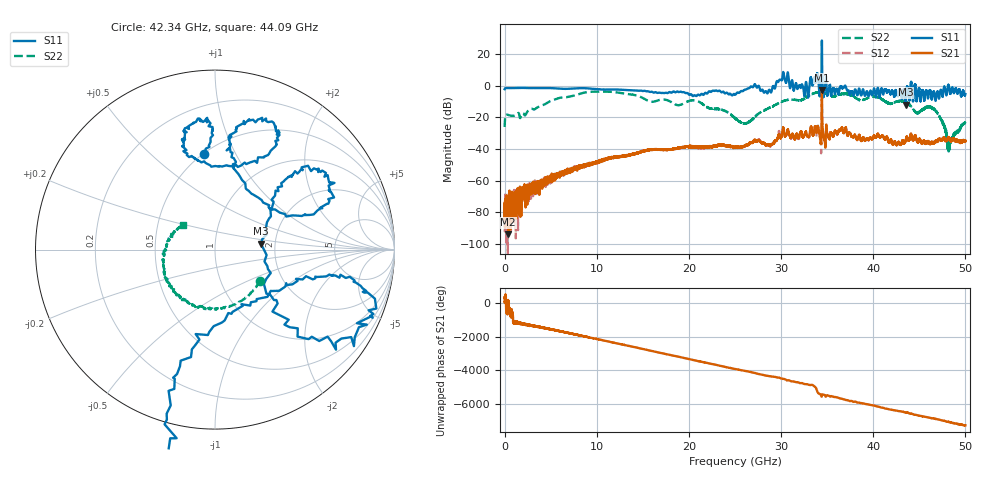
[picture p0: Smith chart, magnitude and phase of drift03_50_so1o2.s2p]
!Created with skrf (http://scikit-rf.org).
# Hz S RI R 50.0
!freq ReS11 ImS11 ReS21 ImS21 ReS12 ImS12 ReS22 ImS22
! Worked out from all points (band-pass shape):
!   10000 points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, 5.3 MHz to 50 GHz, reference 50 ohm
!   highest |S21| = -2.61 dB at 34.43 GHz (marker M1); lowest = -93.9 dB at 395.3 MHz (marker M2)
!   |S21| within 3 dB of the highest: 34.42766 GHz to 34.43518 GHz (7.522 MHz wide, 0.0218 % of centre)
!   lowest |S11| = -11.8 dB at 43.52 GHz (marker M3), VSWR 1.69, Z = 84 + j5.81 ohm
!   |S11| at or under -10 dB: 43.48727 GHz to 43.54059 GHz (53.32 MHz wide, 0.123 % of centre)
!   |S22| runs from -41.5 to -3.6 dB; largest |S21 - S12| = 0.24
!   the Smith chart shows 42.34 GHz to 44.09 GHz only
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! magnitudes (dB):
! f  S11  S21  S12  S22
! 5.3 MHz  -2.1  -78.9  -77.8  -26.0
! 395.3 MHz  -1.4  -93.9  -74.3  -18.4
! 2.98 GHz  -1.4  -61.7  -64.0  -14.5
! 8.34 GHz  -1.5  -50.3  -50.9  -4.7
! 16.67 GHz  -4.4  -40.1  -40.2  -9.2
! 20.75 GHz  -6.3  -38.1  -38.9  -9.3
! 25.01 GHz  -5.5  -39.1  -39.0  -20.6
! 26.26 GHz  -2.1  -37.6  -37.3  -23.6
! 28.72 GHz  -2.5  -37.8  -37.5  -14.0
! 30.14 GHz  4.5  -29.3  -29.7  -9.9
! 32.74 GHz  2.0  -29.5  -29.2  -7.4
! 33.34 GHz  2.5  -27.6  -27.8  -5.3
! 33.82 GHz  4.0  -29.1  -29.7  -4.3
! 34.43 GHz  28.7  -2.6  -4.7  -3.9
! 36.48 GHz  -0.4  -27.8  -28.2  -5.3
! 41.67 GHz  -2.9  -35.5  -35.7  -11.2
! 43.52 GHz  -11.8  -34.5  -34.4  -10.4
! 44.74 GHz  -9.0  -34.6  -34.4  -17.2
! 46.66 GHz  -5.2  -35.4  -35.8  -15.1
! 47.57 GHz  -5.6  -32.9  -33.5  -23.4
! 48.24 GHz  -1.1  -33.0  -33.4  -39.4
! 50 GHz  -5.2  -34.9  -34.8  -23.5
